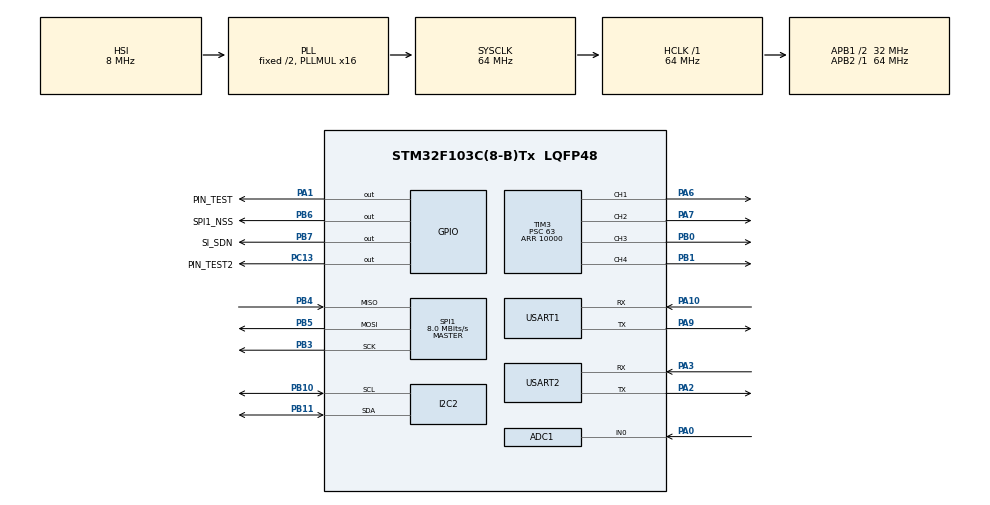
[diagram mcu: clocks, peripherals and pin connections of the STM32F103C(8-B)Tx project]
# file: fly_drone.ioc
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ADC1.Channel-1\#ChannelRegularConversion=ADC_CHANNEL_0
ADC1.NbrOfConversionFlag=1
ADC1.Rank-1\#ChannelRegularConversion=1
ADC1.SamplingTime-1\#ChannelRegularConversion=ADC_SAMPLETIME_1CYCLE_5
ADC1.master=1
Dma.Request0=USART2_TX
Dma.USART2_TX.0.Direction=DMA_MEMORY_TO_PERIPH
Dma.USART2_TX.0.Instance=DMA1_Channel7
Dma.USART2_TX.0.MemDataAlignment=DMA_MDATAALIGN_BYTE
Dma.USART2_TX.0.MemInc=DMA_MINC_ENABLE
Dma.USART2_TX.0.Mode=DMA_NORMAL
Dma.USART2_TX.0.PeriphDataAlignment=DMA_PDATAALIGN_BYTE
Dma.USART2_TX.0.PeriphInc=DMA_PINC_DISABLE
Dma.USART2_TX.0.Priority=DMA_PRIORITY_LOW
I2C2.I2C_Mode=I2C_Fast
IWDG.Prescaler=IWDG_PRESCALER_64
IWDG.Reload=1250
Mcu.Family=STM32F1
Mcu.Name=STM32F103C(8-B)Tx
Mcu.Package=LQFP48
NVIC.DMA1_Channel7_IRQn=true\:0\:0\:false\:false\:true\:false\:true\:true
NVIC.PriorityGroup=NVIC_PRIORITYGROUP_4
NVIC.TIM3_IRQn=true\:0\:0\:false\:false\:true\:true\:true\:true
NVIC.USART2_IRQn=true\:0\:0\:false\:false\:true\:true\:true\:true
PA0-WKUP.Signal=ADCx_IN0
PA1.GPIO_Label=PIN_TEST
PA1.Signal=GPIO_Output
PA10.Mode=Asynchronous
PA10.Signal=USART1_RX
PA13.Mode=Serial_Wire
PA13.Signal=SYS_JTMS-SWDIO
PA14.Mode=Serial_Wire
PA14.Signal=SYS_JTCK-SWCLK
PA2.Mode=Asynchronous
PA2.Signal=USART2_TX
PA3.Mode=Asynchronous
PA3.Signal=USART2_RX
PA6.Signal=S_TIM3_CH1
PA7.Signal=S_TIM3_CH2
PA9.Mode=Asynchronous
PA9.Signal=USART1_TX
PB0.Signal=S_TIM3_CH3
PB1.Signal=S_TIM3_CH4
PB10.Mode=I2C
PB10.Signal=I2C2_SCL
PB11.Mode=I2C
PB11.Signal=I2C2_SDA
PB3.Mode=Full_Duplex_Master
PB3.Signal=SPI1_SCK
PB4.Mode=Full_Duplex_Master
PB4.Signal=SPI1_MISO
PB5.Mode=Full_Duplex_Master
PB5.Signal=SPI1_MOSI
PB6.GPIO_Label=SPI1_NSS
PB6.Signal=GPIO_Output
PB7.GPIO_Label=SI_SDN
PB7.Signal=GPIO_Output
PC13-TAMPER-RTC.GPIO_Label=PIN_TEST2
PC13-TAMPER-RTC.Signal=GPIO_Output
ProjectManager.HeapSize=0x200
ProjectManager.StackSize=0x400
ProjectManager.TargetToolchain=CMake
RCC.ADCPresc=RCC_ADCPCLK2_DIV6
RCC.AHBFreq_Value=64000000
RCC.APB1CLKDivider=RCC_HCLK_DIV2
RCC.APB1Freq_Value=32000000
RCC.APB1TimFreq_Value=64000000
RCC.APB2Freq_Value=64000000
RCC.APB2TimFreq_Value=64000000
RCC.HCLKFreq_Value=64000000
RCC.PLLMUL=RCC_PLL_MUL16
RCC.SYSCLKFreq_VALUE=64000000
RCC.SYSCLKSource=RCC_SYSCLKSOURCE_PLLCLK
RCC.USBFreq_Value=64000000
SH.ADCx_IN0.0=ADC1_IN0,IN0
SH.S_TIM3_CH1.0=TIM3_CH1,PWM Generation1 CH1
SH.S_TIM3_CH2.0=TIM3_CH2,PWM Generation2 CH2
SH.S_TIM3_CH3.0=TIM3_CH3,PWM Generation3 CH3
SH.S_TIM3_CH4.0=TIM3_CH4,PWM Generation4 CH4
SPI1.BaudRatePrescaler=SPI_BAUDRATEPRESCALER_8
SPI1.CalculateBaudRate=8.0 MBits/s
SPI1.Direction=SPI_DIRECTION_2LINES
SPI1.Mode=SPI_MODE_MASTER
SPI1.VirtualType=VM_MASTER
TIM1.AutoReloadPreload=TIM_AUTORELOAD_PRELOAD_ENABLE
TIM1.Prescaler=63
TIM2.AutoReloadPreload=TIM_AUTORELOAD_PRELOAD_ENABLE
TIM2.Channel-PWM\ Generation4\ CH4=TIM_CHANNEL_4
TIM2.Period=20000
TIM2.Prescaler=63
TIM2.Pulse-PWM\ Generation4\ CH4=10000
TIM3.AutoReloadPreload=TIM_AUTORELOAD_PRELOAD_ENABLE
TIM3.Channel-PWM\ Generation1\ CH1=TIM_CHANNEL_1
TIM3.Channel-PWM\ Generation2\ CH2=TIM_CHANNEL_2
TIM3.Channel-PWM\ Generation3\ CH3=TIM_CHANNEL_3
TIM3.Channel-PWM\ Generation4\ CH4=TIM_CHANNEL_4
TIM3.Period=10000
TIM3.Prescaler=63
USART1.VirtualMode=VM_ASYNC
USART2.VirtualMode=VM_ASYNC
VP_IWDG_VS_IWDG.Mode=IWDG_Activate
VP_TIM1_VS_ClockSourceINT.Mode=Internal
VP_TIM2_VS_ClockSourceINT.Mode=Internal
VP_TIM3_VS_ClockSourceINT.Mode=Internal
board=custom

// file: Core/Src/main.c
/* USER CODE BEGIN Header */
/**
  ******************************************************************************
  * @file           : main.c
  * @brief          : Main program body
  ******************************************************************************
  * @attention
  *
  * Copyright (c) 2024 STMicroelectronics.
  * All rights reserved.
  *
  * This software is licensed under terms that can be found in the LICENSE file
  * in the root directory of this software component.
  * If no LICENSE file comes with this software, it is provided AS-IS.
  *
  ******************************************************************************
  */
/* USER CODE END Header */
#include "main.h"

/* USER CODE BEGIN Includes */

#include <string.h>		// for strlen
#include <stdio.h>		// for sprintf
#include <math.h>		  // for abs and other

#include "radio_config_Si4463.h"

// #include "debug.h"

#include "params.h"
#include "system.h"
#include "mavlink_handler.h"

#include "imu.h"
#include "cb.h"

#include "ModemControl.h"
#include "MotorControl.h"
/* USER CODE END Includes */

ADC_HandleTypeDef hadc1;

I2C_HandleTypeDef hi2c2;

IWDG_HandleTypeDef hiwdg;

SPI_HandleTypeDef hspi1;

TIM_HandleTypeDef htim1;
TIM_HandleTypeDef htim2;
TIM_HandleTypeDef htim3;

UART_HandleTypeDef huart1;
UART_HandleTypeDef huart2;
DMA_HandleTypeDef hdma_usart2_tx;

/* USER CODE BEGIN PV */

// __attribute__((section(".isr_vector"), used))
// const uint32_t vector_table[] = {
//   // (uint32_t)&_estack,
//   (uint32_t)*(uint32_t *)&Reset_Handler,
//   (uint32_t)*(uint32_t *)&NMI_Handler
// };

/* USER CODE END PV */

void SystemClock_Config(void);
static void MX_GPIO_Init(void);
static void MX_DMA_Init(void);
static void MX_ADC1_Init(void);
static void MX_I2C2_Init(void);
static void MX_IWDG_Init(void);
static void MX_SPI1_Init(void);
static void MX_TIM1_Init(void);
static void MX_TIM2_Init(void);
static void MX_TIM3_Init(void);
static void MX_USART1_UART_Init(void);
static void MX_USART2_UART_Init(void);

/* USER CODE BEGIN 0 */

void test_set(int set){
  if (set !=0) HAL_GPIO_WritePin(PIN_TEST_GPIO_Port, PIN_TEST_Pin, GPIO_PIN_SET);
  else HAL_GPIO_WritePin(PIN_TEST_GPIO_Port, PIN_TEST_Pin, GPIO_PIN_RESET);

}

volatile uint32_t tick_ms = 0;

char rx_uart_it;  // buffer for irq uart data

uint32_t Get_tick(void){
  return tick_ms;
}

// void HAL_IncTick(void)
// {
//   uwTick += uwTickFreq;
// }

void SYS_myTick(void)  // IRQ 1 ms
{
  tick_ms++;
  //reset timer for calculate us
  if (htim1.Instance != 0)__HAL_TIM_SET_COUNTER(&htim1, 0); // reset for timer counter us
}

//void Printf(const char *fmt, ...){
//  HAL_UART_Transmit(&huart1, (unsigned char *)fmt, strlen(fmt), 500);
//}
#include <stdarg.h>
void Printf(const char *fmt, ...)
{
  char buf[256];
  va_list lst;
  va_start(lst, fmt);
  vsprintf(buf, fmt, lst);
  va_end(lst);
  HAL_UART_Transmit(&huart1, (unsigned char *)buf, strlen(buf), 500);
  if (ModemControl_getStatus()>=0) mavlink_send_statustext(buf);
}

// for printf. the size is larger on 2k
// int _write(int fd, char* ptr, int len) {
//     HAL_UART_Transmit(&huart1, (uint8_t *) ptr, len, HAL_MAX_DELAY);
//   ptr[len] = '\0';
//   if (ModemControl_getStatus()>=0) mavlink_send_statustext(ptr);
//     return len;
// }

void HAL_UART_RxCpltCallback(UART_HandleTypeDef *huart) {
  // Your code to handle received data

  if (huart != &huart2) return;
  // only for uart2:

  mavlink_receive(rx_uart_it);
  HAL_UART_Receive_IT(huart, &rx_uart_it, 1);  // Enable USART receive interrupt again
}

/* USER CODE END 0 */

int main(void)
{

  /* MCU Configuration--------------------------------------------------------*/

  /* Reset of all peripherals, Initializes the Flash interface and the Systick. */
  HAL_Init();

  /* Configure the system clock */
  SystemClock_Config();

  /* Initialize all configured peripherals */
  MX_GPIO_Init();
  MX_DMA_Init();
  MX_ADC1_Init();
  MX_I2C2_Init();
  MX_IWDG_Init();
  MX_SPI1_Init();
  MX_TIM1_Init();
  MX_TIM2_Init();
  MX_TIM3_Init();
  MX_USART1_UART_Init();
  MX_USART2_UART_Init();
  /* USER CODE BEGIN 2 */

  Printf("...\n\r");

  __enable_irq();
  HAL_IWDG_Init(&hiwdg);
  __HAL_IWDG_START(&hiwdg);
  HAL_IWDG_Refresh(&hiwdg);

  HAL_UART_Receive_IT(&huart2, &rx_uart_it, 1);

  HAL_TIM_Base_Start(&htim1); // timer for us calculate
  HAL_TIM_Base_Start(&htim2); // reserv for additional motors
  HAL_TIM_Base_Start(&htim3); // timer for motor pwm

  // HAL_TIM_PWM_Start(&htim2, TIM_CHANNEL_2); // for additional motors
  // HAL_TIM_PWM_Start(&htim2, TIM_CHANNEL_4); // for additional motors

  HAL_TIM_PWM_Start(&htim3, TIM_CHANNEL_1); // motor 1
  HAL_TIM_PWM_Start(&htim3, TIM_CHANNEL_2); // motor 2
  HAL_TIM_PWM_Start(&htim3, TIM_CHANNEL_3); // motor 3
  HAL_TIM_PWM_Start(&htim3, TIM_CHANNEL_4); // motor 4

  params_restore();

  HAL_IWDG_Refresh(&hiwdg);

  MotorControl_init();

  if (imu_init() < 0) if (IMU_MUST_BE) system_reboot();
  if (ModemControl_init() < 0) {
    Printf("MC_init false\n\r");
    system_changeThread(THREAD_MODEMCONTROL, THREAD_ENABLE, 0); // disable THREAD_MODEMCONTROL
    if (MC_MUST_BE) system_reboot();
  };

  Printf("Started...\n\r");

  /* USER CODE END 2 */

  /* Infinite loop */
  /* USER CODE BEGIN WHILE */
  while (1)
  {
    HAL_IWDG_Refresh(&hiwdg);

    int thread = Thread_Cycle();

    switch (thread){
        case(THREAD_IMU_LOOP):
          mavlink_loop(); // if no mc
          imu_loop();
          break;
        case(THREAD_TEST):
          // static int ii=0;
          // Printf("test %d\n\r", ii++);
          HAL_GPIO_TogglePin(PIN_TEST_GPIO_Port, PIN_TEST_Pin);
          HAL_GPIO_TogglePin(PIN_TEST2_GPIO_Port, PIN_TEST2_Pin);
          if (MotorControl_isArmed()) system_changeThread(THREAD_TEST, THREAD_T_INTERVAL, 100);
          else system_changeThread(THREAD_TEST, THREAD_T_INTERVAL, 500);  //500

          if (ModemControl_getStatus() < 0){ // for timeout. if no rx uart data on start and mc fail => reboot;
            static int t=0;
            if (mavlink_currNRxPack() == 0) t++;
            else t=0;
            if (t >= 10) system_reboot();
          }
          // int alt_max = (int)params_GetParamValue(ALT_MAX);
          // if ((alt_max > 0) && (!MotorControl_isArmed())){
          //   int dist = imu_getAlt();
          //   Printf("dist = %d\n\r", dist);
          // }
          break;
        case(THREAD_MODEMCONTROL):
          mavlink_loop();
          if (ModemControl_getStatus()>=0){
            ModemControl_Loop();
          }
            //if (ModemControl_Loop() == 1){  // if rx data pack
              uint8_t buff_pack[64];
              int32_t rx_len = ModemControl_GetPacket(buff_pack); // if exist pack
              if (rx_len > 0) mavlink_receive_pack(buff_pack, rx_len);  // send packet to parse
            //}
          break;
        case(THREAD_MAV_SEND_ATTITUDE):
          mavlink_send_attitude();
          break;
        case(THREAD_MAV_SEND_STATUS):
          mavlink_send_heartbeat();
          mavlink_send_status();
          break;
        case(THREAD_ADC):
          Battery_Read();
          break;
    }

    /* USER CODE END WHILE */

  }
}

void SystemClock_Config(void)
{
  RCC_OscInitTypeDef RCC_OscInitStruct = {0};
  RCC_ClkInitTypeDef RCC_ClkInitStruct = {0};
  RCC_PeriphCLKInitTypeDef PeriphClkInit = {0};

  /** Initializes the RCC Oscillators according to the specified parameters
  * in the RCC_OscInitTypeDef structure.
  */
  RCC_OscInitStruct.OscillatorType = RCC_OSCILLATORTYPE_HSI|RCC_OSCILLATORTYPE_LSI;
  RCC_OscInitStruct.HSIState = RCC_HSI_ON;
  RCC_OscInitStruct.HSICalibrationValue = RCC_HSICALIBRATION_DEFAULT;
  RCC_OscInitStruct.LSIState = RCC_LSI_ON;
  RCC_OscInitStruct.PLL.PLLState = RCC_PLL_ON;
  RCC_OscInitStruct.PLL.PLLSource = RCC_PLLSOURCE_HSI_DIV2;
  RCC_OscInitStruct.PLL.PLLMUL = RCC_PLL_MUL16;
  if (HAL_RCC_OscConfig(&RCC_OscInitStruct) != HAL_OK)
  {
    Error_Handler();
  }

  /** Initializes the CPU, AHB and APB buses clocks
  */
  RCC_ClkInitStruct.ClockType = RCC_CLOCKTYPE_HCLK|RCC_CLOCKTYPE_SYSCLK
                              |RCC_CLOCKTYPE_PCLK1|RCC_CLOCKTYPE_PCLK2;
  RCC_ClkInitStruct.SYSCLKSource = RCC_SYSCLKSOURCE_PLLCLK;
  RCC_ClkInitStruct.AHBCLKDivider = RCC_SYSCLK_DIV1;
  RCC_ClkInitStruct.APB1CLKDivider = RCC_HCLK_DIV2;
  RCC_ClkInitStruct.APB2CLKDivider = RCC_HCLK_DIV1;

  if (HAL_RCC_ClockConfig(&RCC_ClkInitStruct, FLASH_LATENCY_2) != HAL_OK)
  {
    Error_Handler();
  }
  PeriphClkInit.PeriphClockSelection = RCC_PERIPHCLK_ADC;
  PeriphClkInit.AdcClockSelection = RCC_ADCPCLK2_DIV6;
  if (HAL_RCCEx_PeriphCLKConfig(&PeriphClkInit) != HAL_OK)
  {
    Error_Handler();
  }
}

static void MX_ADC1_Init(void)
{

  ADC_ChannelConfTypeDef sConfig = {0};

  /** Common config
  */
  hadc1.Instance = ADC1;
  hadc1.Init.ScanConvMode = ADC_SCAN_DISABLE;
  hadc1.Init.ContinuousConvMode = DISABLE;
  hadc1.Init.DiscontinuousConvMode = DISABLE;
  hadc1.Init.ExternalTrigConv = ADC_SOFTWARE_START;
  hadc1.Init.DataAlign = ADC_DATAALIGN_RIGHT;
  hadc1.Init.NbrOfConversion = 1;
  if (HAL_ADC_Init(&hadc1) != HAL_OK)
  {
    Error_Handler();
  }

  /** Configure Regular Channel
  */
  sConfig.Channel = ADC_CHANNEL_0;
  sConfig.Rank = ADC_REGULAR_RANK_1;
  sConfig.SamplingTime = ADC_SAMPLETIME_1CYCLE_5;
  if (HAL_ADC_ConfigChannel(&hadc1, &sConfig) != HAL_OK)
  {
    Error_Handler();
  }

}

static void MX_I2C2_Init(void)
{

  hi2c2.Instance = I2C2;
  hi2c2.Init.ClockSpeed = 400000;
  hi2c2.Init.DutyCycle = I2C_DUTYCYCLE_2;
  hi2c2.Init.OwnAddress1 = 0;
  hi2c2.Init.AddressingMode = I2C_ADDRESSINGMODE_7BIT;
  hi2c2.Init.DualAddressMode = I2C_DUALADDRESS_DISABLE;
  hi2c2.Init.OwnAddress2 = 0;
  hi2c2.Init.GeneralCallMode = I2C_GENERALCALL_DISABLE;
  hi2c2.Init.NoStretchMode = I2C_NOSTRETCH_DISABLE;
  if (HAL_I2C_Init(&hi2c2) != HAL_OK)
  {
    Error_Handler();
  }

}

static void MX_IWDG_Init(void)
{

  hiwdg.Instance = IWDG;
  hiwdg.Init.Prescaler = IWDG_PRESCALER_64;
  hiwdg.Init.Reload = 1250;
  if (HAL_IWDG_Init(&hiwdg) != HAL_OK)
  {
    Error_Handler();
  }

}

static void MX_SPI1_Init(void)
{

  /* SPI1 parameter configuration*/
  hspi1.Instance = SPI1;
  hspi1.Init.Mode = SPI_MODE_MASTER;
  hspi1.Init.Direction = SPI_DIRECTION_2LINES;
  hspi1.Init.DataSize = SPI_DATASIZE_8BIT;
  hspi1.Init.CLKPolarity = SPI_POLARITY_LOW;
  hspi1.Init.CLKPhase = SPI_PHASE_1EDGE;
  hspi1.Init.NSS = SPI_NSS_SOFT;
  hspi1.Init.BaudRatePrescaler = SPI_BAUDRATEPRESCALER_8;
  hspi1.Init.FirstBit = SPI_FIRSTBIT_MSB;
  hspi1.Init.TIMode = SPI_TIMODE_DISABLE;
  hspi1.Init.CRCCalculation = SPI_CRCCALCULATION_DISABLE;
  hspi1.Init.CRCPolynomial = 10;
  if (HAL_SPI_Init(&hspi1) != HAL_OK)
  {
    Error_Handler();
  }

}

static void MX_TIM1_Init(void)
{

  TIM_ClockConfigTypeDef sClockSourceConfig = {0};
  TIM_MasterConfigTypeDef sMasterConfig = {0};

  htim1.Instance = TIM1;
  htim1.Init.Prescaler = 63;
  htim1.Init.CounterMode = TIM_COUNTERMODE_UP;
  htim1.Init.Period = 65535;
  htim1.Init.ClockDivision = TIM_CLOCKDIVISION_DIV1;
  htim1.Init.RepetitionCounter = 0;
  htim1.Init.AutoReloadPreload = TIM_AUTORELOAD_PRELOAD_ENABLE;
  if (HAL_TIM_Base_Init(&htim1) != HAL_OK)
  {
    Error_Handler();
  }
  sClockSourceConfig.ClockSource = TIM_CLOCKSOURCE_INTERNAL;
  if (HAL_TIM_ConfigClockSource(&htim1, &sClockSourceConfig) != HAL_OK)
  {
    Error_Handler();
  }
  sMasterConfig.MasterOutputTrigger = TIM_TRGO_RESET;
  sMasterConfig.MasterSlaveMode = TIM_MASTERSLAVEMODE_DISABLE;
  if (HAL_TIMEx_MasterConfigSynchronization(&htim1, &sMasterConfig) != HAL_OK)
  {
    Error_Handler();
  }

}

static void MX_TIM2_Init(void)
{

  TIM_ClockConfigTypeDef sClockSourceConfig = {0};
  TIM_MasterConfigTypeDef sMasterConfig = {0};

  htim2.Instance = TIM2;
  htim2.Init.Prescaler = 63;
  htim2.Init.CounterMode = TIM_COUNTERMODE_UP;
  htim2.Init.Period = 20000;
  htim2.Init.ClockDivision = TIM_CLOCKDIVISION_DIV1;
  htim2.Init.AutoReloadPreload = TIM_AUTORELOAD_PRELOAD_ENABLE;
  if (HAL_TIM_Base_Init(&htim2) != HAL_OK)
  {
    Error_Handler();
  }
  sClockSourceConfig.ClockSource = TIM_CLOCKSOURCE_INTERNAL;
  if (HAL_TIM_ConfigClockSource(&htim2, &sClockSourceConfig) != HAL_OK)
  {
    Error_Handler();
  }
  sMasterConfig.MasterOutputTrigger = TIM_TRGO_RESET;
  sMasterConfig.MasterSlaveMode = TIM_MASTERSLAVEMODE_DISABLE;
  if (HAL_TIMEx_MasterConfigSynchronization(&htim2, &sMasterConfig) != HAL_OK)
  {
    Error_Handler();
  }

}

static void MX_TIM3_Init(void)
{

  TIM_ClockConfigTypeDef sClockSourceConfig = {0};
  TIM_MasterConfigTypeDef sMasterConfig = {0};
  TIM_OC_InitTypeDef sConfigOC = {0};

  htim3.Instance = TIM3;
  htim3.Init.Prescaler = 63;
  htim3.Init.CounterMode = TIM_COUNTERMODE_UP;
  htim3.Init.Period = 10000;
  htim3.Init.ClockDivision = TIM_CLOCKDIVISION_DIV1;
  htim3.Init.AutoReloadPreload = TIM_AUTORELOAD_PRELOAD_ENABLE;
  if (HAL_TIM_Base_Init(&htim3) != HAL_OK)
  {
    Error_Handler();
  }
  sClockSourceConfig.ClockSource = TIM_CLOCKSOURCE_INTERNAL;
  if (HAL_TIM_ConfigClockSource(&htim3, &sClockSourceConfig) != HAL_OK)
  {
    Error_Handler();
  }
  if (HAL_TIM_PWM_Init(&htim3) != HAL_OK)
  {
    Error_Handler();
  }
  sMasterConfig.MasterOutputTrigger = TIM_TRGO_RESET;
  sMasterConfig.MasterSlaveMode = TIM_MASTERSLAVEMODE_DISABLE;
  if (HAL_TIMEx_MasterConfigSynchronization(&htim3, &sMasterConfig) != HAL_OK)
  {
    Error_Handler();
  }
  sConfigOC.OCMode = TIM_OCMODE_PWM1;
  sConfigOC.Pulse = 0;
  sConfigOC.OCPolarity = TIM_OCPOLARITY_HIGH;
  sConfigOC.OCFastMode = TIM_OCFAST_DISABLE;
  if (HAL_TIM_PWM_ConfigChannel(&htim3, &sConfigOC, TIM_CHANNEL_1) != HAL_OK)
  {
    Error_Handler();
  }
  if (HAL_TIM_PWM_ConfigChannel(&htim3, &sConfigOC, TIM_CHANNEL_2) != HAL_OK)
  {
    Error_Handler();
  }
  if (HAL_TIM_PWM_ConfigChannel(&htim3, &sConfigOC, TIM_CHANNEL_3) != HAL_OK)
  {
    Error_Handler();
  }
  if (HAL_TIM_PWM_ConfigChannel(&htim3, &sConfigOC, TIM_CHANNEL_4) != HAL_OK)
  {
    Error_Handler();
  }
  HAL_TIM_MspPostInit(&htim3);

}

static void MX_USART1_UART_Init(void)
{

  huart1.Instance = USART1;
  huart1.Init.BaudRate = 115200;
  huart1.Init.WordLength = UART_WORDLENGTH_8B;
  huart1.Init.StopBits = UART_STOPBITS_1;
  huart1.Init.Parity = UART_PARITY_NONE;
  huart1.Init.Mode = UART_MODE_TX_RX;
  huart1.Init.HwFlowCtl = UART_HWCONTROL_NONE;
  huart1.Init.OverSampling = UART_OVERSAMPLING_16;
  if (HAL_UART_Init(&huart1) != HAL_OK)
  {
    Error_Handler();
  }

}

static void MX_USART2_UART_Init(void)
{

  huart2.Instance = USART2;
  huart2.Init.BaudRate = 115200;
  huart2.Init.WordLength = UART_WORDLENGTH_8B;
  huart2.Init.StopBits = UART_STOPBITS_1;
  huart2.Init.Parity = UART_PARITY_NONE;
  huart2.Init.Mode = UART_MODE_TX_RX;
  huart2.Init.HwFlowCtl = UART_HWCONTROL_NONE;
  huart2.Init.OverSampling = UART_OVERSAMPLING_16;
  if (HAL_UART_Init(&huart2) != HAL_OK)
  {
    Error_Handler();
  }

}

static void MX_DMA_Init(void)
{

  /* DMA controller clock enable */
  __HAL_RCC_DMA1_CLK_ENABLE();

  /* DMA interrupt init */
  /* DMA1_Channel7_IRQn interrupt configuration */
  HAL_NVIC_SetPriority(DMA1_Channel7_IRQn, 0, 0);
  HAL_NVIC_EnableIRQ(DMA1_Channel7_IRQn);

}

static void MX_GPIO_Init(void)
{
  GPIO_InitTypeDef GPIO_InitStruct = {0};

  /* GPIO Ports Clock Enable */
  __HAL_RCC_GPIOC_CLK_ENABLE();
  __HAL_RCC_GPIOA_CLK_ENABLE();
  __HAL_RCC_GPIOB_CLK_ENABLE();

  /*Configure GPIO pin Output Level */
  HAL_GPIO_WritePin(PIN_TEST2_GPIO_Port, PIN_TEST2_Pin, GPIO_PIN_RESET);

  /*Configure GPIO pin Output Level */
  HAL_GPIO_WritePin(PIN_TEST_GPIO_Port, PIN_TEST_Pin, GPIO_PIN_RESET);

  /*Configure GPIO pin Output Level */
  HAL_GPIO_WritePin(GPIOB, SPI1_NSS_Pin|SI_SDN_Pin, GPIO_PIN_RESET);

  /*Configure GPIO pin : PIN_TEST2_Pin */
  GPIO_InitStruct.Pin = PIN_TEST2_Pin;
  GPIO_InitStruct.Mode = GPIO_MODE_OUTPUT_PP;
  GPIO_InitStruct.Pull = GPIO_NOPULL;
  GPIO_InitStruct.Speed = GPIO_SPEED_FREQ_LOW;
  HAL_GPIO_Init(PIN_TEST2_GPIO_Port, &GPIO_InitStruct);

  /*Configure GPIO pin : PIN_TEST_Pin */
  GPIO_InitStruct.Pin = PIN_TEST_Pin;
  GPIO_InitStruct.Mode = GPIO_MODE_OUTPUT_PP;
  GPIO_InitStruct.Pull = GPIO_NOPULL;
  GPIO_InitStruct.Speed = GPIO_SPEED_FREQ_LOW;
  HAL_GPIO_Init(PIN_TEST_GPIO_Port, &GPIO_InitStruct);

  /*Configure GPIO pins : SPI1_NSS_Pin SI_SDN_Pin */
  GPIO_InitStruct.Pin = SPI1_NSS_Pin|SI_SDN_Pin;
  GPIO_InitStruct.Mode = GPIO_MODE_OUTPUT_PP;
  GPIO_InitStruct.Pull = GPIO_NOPULL;
  GPIO_InitStruct.Speed = GPIO_SPEED_FREQ_LOW;
  HAL_GPIO_Init(GPIOB, &GPIO_InitStruct);

}

void Error_Handler(void)
{
  __disable_irq();
  while (1)
  {
  }
}
